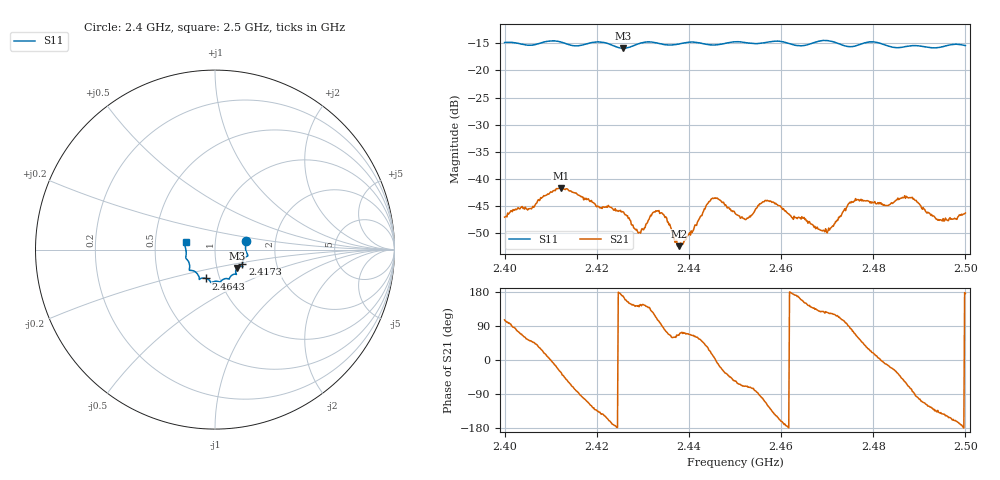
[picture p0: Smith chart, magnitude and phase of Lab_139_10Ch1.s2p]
# Hz S RI R 50
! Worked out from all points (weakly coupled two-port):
!   601 points, 2.4 GHz to 2.5 GHz, reference 50 ohm
!   highest |S21| = -41.66 dB at 2.4122 GHz (marker M1); lowest = -52.4 dB at 2.4378 GHz (marker M2)
!   lowest |S11| = -15.9 dB at 2.4257 GHz (marker M3), VSWR 1.38, Z = 62.4 - j13.1 ohm
!   |S11| at or under -10 dB: start of sweep to end of sweep
!   S12 and S22 are empty: the file has one direction only
!   S11 on the Smith chart (normalised r, x): 2.4 GHz: 1.41, +0.14; 2.4173 GHz: 1.34, -0.23; 2.4643 GHz: 0.86, -0.28; 2.5 GHz: 0.72, +0.06
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2.4e9  0.1735 0.0496  -0.00121 0.00429  0 0  0 0
2.406e9  0.1708 0.00116  0.00365 0.00408  0 0  0 0
2.412167e9  0.1787 -0.0368  0.00701 -0.00437  0 0  0 0
2.416667e9  0.153 -0.0747  -0.000685 -0.00687  0 0  0 0
2.417333e9  0.1523 -0.0821  -0.00147 -0.00652  0 0  0 0
2.425667e9  0.1224 -0.1024  -0.00491 0.000945  0 0  0 0
2.429167e9  0.1164 -0.1321  -0.00249 0.00205  0 0  0 0
2.433333e9  0.1127 -0.1368  -0.00125 0.00491  0 0  0 0
2.435e9  0.1016 -0.1384  0.00112 0.00434  0 0  0 0
2.437833e9  0.0835 -0.1536  0.00101 0.00219  0 0  0 0
2.445167e9  0.054 -0.1623  0.00654 0.00139  0 0  0 0
2.45e9  0.0294 -0.181  0.00273 -0.00402  0 0  0 0
2.4525e9  0.0204 -0.1783  0.00149 -0.00403  0 0  0 0
2.457e9  -0.0137 -0.1809  -0.00309 -0.00557  0 0  0 0
2.464333e9  -0.0503 -0.1606  -0.004 0.00154  0 0  0 0
2.466667e9  -0.0764 -0.1597  -0.00289 0.00253  0 0  0 0
2.470333e9  -0.0872 -0.1656  -0.00195 0.00295  0 0  0 0
2.476333e9  -0.12 -0.1182  0.00279 0.00574  0 0  0 0
2.483333e9  -0.141 -0.0893  0.00553 -0.00153  0 0  0 0
2.487667e9  -0.159 -0.0525  0.00235 -0.00627  0 0  0 0
2.494167e9  -0.1621 0.000494  -0.00314 -0.00285  0 0  0 0
2.5e9  -0.1636 0.0421  -0.00486 0.000359  0 0  0 0
